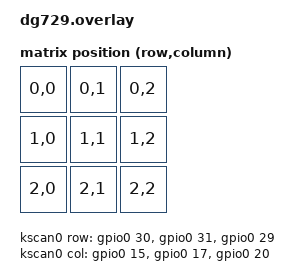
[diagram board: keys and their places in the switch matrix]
#include <dt-bindings/zmk/matrix_transform.h>
#include <physical_layouts.dtsi>

/ {

  physical_layout0: physical_layout_0 {
    compatible = "zmk,physical-layout";
    display-name = "3x3 Layout";
    transform = <&default_transform>;
    kscan = <&kscan0>;
    keys  //                 w   h   x   y   rot rx ry
      = <&key_physical_attrs 100 100   0   0   0  0  0>
      , <&key_physical_attrs 100 100 100   0   0  0  0>
      , <&key_physical_attrs 100 100 200   0   0  0  0>
      , <&key_physical_attrs 100 100   0 100   0  0  0>
      , <&key_physical_attrs 100 100 100 100   0  0  0>
      , <&key_physical_attrs 100 100 200 100   0  0  0>
      , <&key_physical_attrs 100 100   0 200   0  0  0>
      , <&key_physical_attrs 100 100 100 200   0  0  0>
      , <&key_physical_attrs 100 100 200 200   0  0  0>
      ;
  };

  kscan0: kscan {
    compatible = "zmk,kscan-gpio-matrix";
    wakeup-source;
    diode-direction = "col2row";
    row-gpios
      = <&gpio0 30 (GPIO_ACTIVE_HIGH | GPIO_PULL_DOWN)>
      , <&gpio0 31 (GPIO_ACTIVE_HIGH | GPIO_PULL_DOWN)>
      , <&gpio0 29 (GPIO_ACTIVE_HIGH | GPIO_PULL_DOWN)>
      ;
    col-gpios
      = <&gpio0 15 GPIO_ACTIVE_HIGH>
      , <&gpio0 17 GPIO_ACTIVE_HIGH>
      , <&gpio0 20 GPIO_ACTIVE_HIGH>
      ;
  };

  default_transform: keymap_transform_0 {
    compatible = "zmk,matrix-transform";
    columns = <3>;
    rows = <3>;
    map = <
      RC(0,0) RC(0,1) RC(0,2)
      RC(1,0) RC(1,1) RC(1,2)
      RC(2,0) RC(2,1) RC(2,2)
    >;
  };

};
